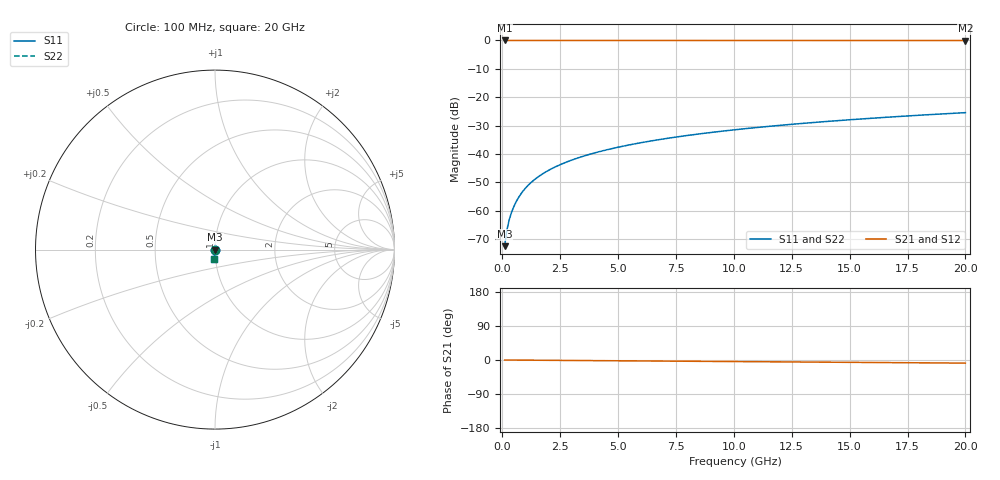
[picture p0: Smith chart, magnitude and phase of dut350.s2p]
! Touchstone file exported from HFSS 2026.1.0
!  File:  C:/ffzhzh/LocalFiles/Ansys_Project_Files/temp_train_TSV_350_1783019079_51716.aedt
!  Generated:  03:06:19 AM Jul  3, 2026
!  Design:  TSV
!  Project:  temp_train_TSV_350_1783019079_51716
! Variables:
!  h_bsmrdl = 2um
!  h_ox = 20um
!  h_rdl = 5um
!  h_sub = 78.94um
!  h_tmrdl = 5um
!  h_tsv = 78.94um
!  h_via = 3um
!  l_bsmrdl = 300um
!  l_sub = 428.14um
!  l_tmrdl = 200um
!  m_sub = 200um
!  pitch = 40.53um
!  r_tsv = 14.07um
!  s_tmrdl = 10um
!  w_bsmrdl = 18um
!  w_sub = 500um
!  w_tmrdl = 12um
!  x_tsv_center1 = 206um
!  x_tsv_center2 = 524um
!  x_tsv_center3 = 736um
!  x_tsv_center4 = 1054um
!  x_tsv_center5 = 1266um
!  x_tsv_center6 = 1584um
# GHz S MA R 50.000000
! Terminal data exported
! Port[1] = TSV1_1_T1
! Port[2] = TSV1_1_T2
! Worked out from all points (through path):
!   200 points, 100 MHz to 20 GHz, reference 50 ohm
!   highest |S21| = 0.00 dB at 100 MHz (marker M1); lowest = 0.0 dB at 20 GHz (marker M2)
!   group delay of S21, straight-line fit = 1.14 ps
!   lowest |S11| = -72.5 dB at 100 MHz (marker M3), VSWR 1.00, Z = 50 - j0.0222 ohm
!   |S11| at or under -10 dB: start of sweep to end of sweep
!   |S22| runs from -72.5 to -25.4 dB; largest |S21 - S12| = 3.3e-15
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0.1  0.0002372 -69.6  0.9999 -0.0  0.9999 -0.0  0.0002372 -69.6
! Gamma 0 0 0 0
! Port Impedance 50 0 50 0
0.2  0.0004596 -77.7  0.9999 -0.1  0.9999 -0.1  0.0004596 -77.7
0.3  0.0006936 -80.1  0.9999 -0.1  0.9999 -0.1  0.0006936 -80.1
0.4  0.0009366 -81.2  0.9999 -0.2  0.9999 -0.2  0.0009366 -81.2
0.5  0.001187 -81.8  0.9998 -0.2  0.9998 -0.2  0.001187 -81.8
0.7  0.001703 -82.9  0.9998 -0.3  0.9998 -0.3  0.001703 -82.9
0.8  0.001966 -83.3  0.9998 -0.3  0.9998 -0.3  0.001966 -83.3
1  0.002495 -84.2  0.9997 -0.4  0.9997 -0.4  0.002495 -84.2
1.2  0.003026 -84.9  0.9997 -0.5  0.9997 -0.5  0.003026 -84.9
1.4  0.003558 -85.5  0.9997 -0.6  0.9997 -0.6  0.003558 -85.5
1.7  0.004354 -86.2  0.9996 -0.7  0.9996 -0.7  0.004354 -86.2
2  0.005151 -86.8  0.9996 -0.8  0.9996 -0.8  0.005151 -86.8
2.7  0.007008 -87.7  0.9996 -1.1  0.9996 -1.1  0.007008 -87.7
3.5  0.009135 -88.5  0.9995 -1.5  0.9995 -1.5  0.009135 -88.5
4.2  0.011 -89.1  0.9994 -1.7  0.9994 -1.7  0.011 -89.1
5  0.01314 -89.6  0.9994 -2.1  0.9994 -2.1  0.01314 -89.6
6.8  0.01797 -90.7  0.9992 -2.8  0.9992 -2.8  0.01797 -90.7
8.3  0.022 -91.5  0.999 -3.4  0.999 -3.4  0.022 -91.5
10.1  0.02685 -92.5  0.9988 -4.2  0.9988 -4.2  0.02685 -92.5
13.4  0.03573 -94.0  0.9984 -5.5  0.9984 -5.5  0.03573 -94.0
16.7  0.04461 -95.5  0.998 -6.9  0.998 -6.9  0.04461 -95.5
20  0.05348 -97.0  0.9974 -8.2  0.9974 -8.2  0.05348 -97.0
